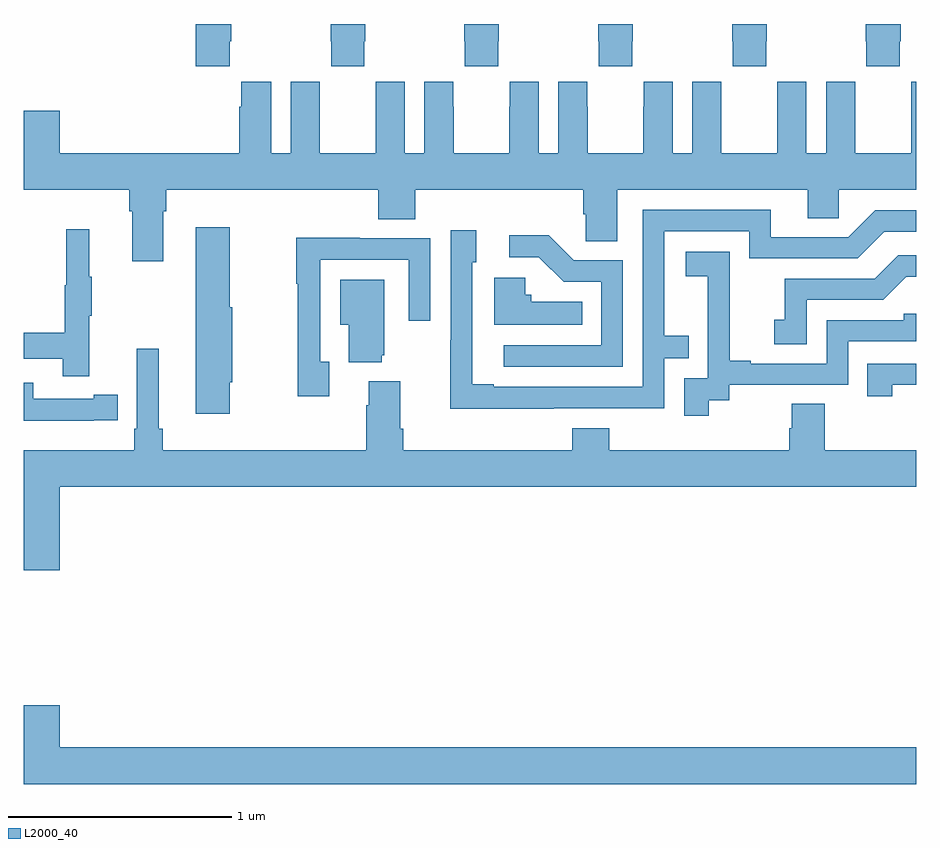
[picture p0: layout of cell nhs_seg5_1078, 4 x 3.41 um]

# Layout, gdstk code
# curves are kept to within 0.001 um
import gdstk
lib = gdstk.Library(unit=1e-6, precision=1e-09)
def P(c, l, *ps):  # polygons
    for p in ps: c.add(gdstk.Polygon(p, *l))
L2000_40 = (2000, 40)

nhs_seg5_1078 = lib.new_cell('nhs_seg5_1078')
P(nhs_seg5_1078, L2000_40, [(177.923,894.721),(177.93,894.721),(177.93,894.799),(177.77,894.799),(177.77,894.609),(177.923,894.609)],
  [(178.527,894.721),(178.53,894.721),(178.53,894.799),(178.375,894.799),(178.375,894.721),(178.377,894.721),(178.377,894.609),(178.527,894.609)],
  [(179.127,894.721),(179.13,894.721),(179.13,894.799),(178.975,894.799),(178.975,894.721),(178.977,894.721),(178.977,894.609),(179.127,894.609)],
  [(179.727,894.721),(179.73,894.721),(179.73,894.799),(179.575,894.799),(179.575,894.721),(179.577,894.721),(179.577,894.609),(179.727,894.609)],
  [(180.327,894.721),(180.33,894.721),(180.33,894.799),(180.175,894.799),(180.175,894.721),(180.177,894.721),(180.177,894.609),(180.327,894.609)],
  [(180.927,894.721),(180.93,894.721),(180.93,894.799),(180.775,894.799),(180.775,894.721),(180.777,894.721),(180.777,894.609),(180.927,894.609)],
  [(177.625,893.96),(177.638,893.96),(177.638,894.056),(178.589,894.056),(178.589,893.923),(178.754,893.923),(178.754,894.056),(179.507,894.056),(179.507,893.947),(179.52,893.947),(179.52,893.824),(179.659,893.824),(179.659,894.056),(180.515,894.056),(180.515,893.929),(180.654,893.929),(180.654,894.056),(181,894.056),(181,894.541),(180.978,894.541),(180.978,894.428),(180.977,894.428),(180.977,894.22),(180.727,894.22),(180.727,894.428),(180.726,894.428),(180.726,894.541),(180.596,894.541),(180.596,894.22),(180.508,894.22),(180.508,894.541),(180.378,894.541),(180.378,894.428),(180.377,894.428),(180.377,894.22),(180.127,894.22),(180.127,894.428),(180.126,894.428),(180.126,894.541),(179.996,894.541),(179.996,894.22),(179.908,894.22),(179.908,894.541),(179.778,894.541),(179.778,894.428),(179.777,894.428),(179.777,894.22),(179.527,894.22),(179.527,894.428),(179.526,894.428),(179.526,894.541),(179.396,894.541),(179.396,894.22),(179.308,894.22),(179.308,894.541),(179.178,894.541),(179.178,894.428),(179.177,894.428),(179.177,894.22),(178.927,894.22),(178.927,894.428),(178.926,894.428),(178.926,894.541),(178.796,894.541),(178.796,894.22),(178.708,894.22),(178.708,894.541),(178.578,894.541),(178.578,894.428),(178.577,894.428),(178.577,894.22),(178.327,894.22),(178.327,894.428),(178.326,894.428),(178.326,894.541),(178.196,894.541),(178.196,894.22),(178.108,894.22),(178.108,894.541),(177.974,894.541),(177.974,894.428),(177.965,894.428),(177.965,894.22),(177.16,894.22),(177.16,894.409),(177,894.409),(177,894.056),(177.473,894.056),(177.473,893.96),(177.485,893.96),(177.485,893.736),(177.625,893.736)],
  [(179.375,893.076),(179.871,893.076),(179.871,893.301),(179.981,893.301),(179.981,893.402),(179.871,893.402),(179.871,893.871),(180.252,893.871),(180.252,893.748),(180.738,893.748),(180.858,893.868),(181,893.868),(181,893.964),(180.816,893.964),(180.696,893.844),(180.349,893.844),(180.349,893.967),(179.775,893.967),(179.775,893.172),(179.107,893.172),(179.107,893.185),(179.01,893.185),(179.01,893.73),(179.029,893.73),(179.029,893.875),(178.914,893.875),(178.914,893.381),(178.912,893.381),(178.912,893.075)],
  [(177.924,893.193),(177.934,893.193),(177.934,893.529),(177.924,893.529),(177.924,893.887),(177.77,893.887),(177.77,893.052),(177.924,893.052)],
  [(177.293,893.491),(177.304,893.491),(177.304,893.665),(177.293,893.665),(177.293,893.878),(177.19,893.878),(177.19,893.628),(177.183,893.628),(177.183,893.414),(177,893.414),(177,893.298),(177.175,893.298),(177.175,893.22),(177.293,893.22)],
  [(179.685,893.739),(179.466,893.739),(179.353,893.852),(179.175,893.852),(179.175,893.754),(179.309,893.754),(179.42,893.643),(179.589,893.643),(179.589,893.358),(179.151,893.358),(179.151,893.262),(179.685,893.262)],
  [(178.369,893.286),(178.329,893.286),(178.329,893.742),(178.725,893.742),(178.725,893.469),(178.821,893.469),(178.821,893.838),(178.505,893.838),(178.505,893.84),(178.221,893.84),(178.221,893.635),(178.228,893.635),(178.228,893.13),(178.369,893.13)],
  [(180.07,893.113),(180.162,893.113),(180.162,893.181),(180.696,893.181),(180.696,893.376),(181,893.376),(181,893.499),(180.945,893.499),(180.945,893.472),(180.6,893.472),(180.6,893.277),(180.259,893.277),(180.259,893.29),(180.164,893.29),(180.164,893.573),(180.165,893.573),(180.165,893.779),(179.967,893.779),(179.967,893.669),(180.065,893.669),(180.065,893.441),(180.066,893.441),(180.066,893.211),(179.961,893.211),(179.961,893.043),(180.07,893.043)],
  [(180.51,893.562),(180.852,893.562),(180.956,893.666),(181,893.666),(181,893.763),(180.92,893.763),(180.815,893.658),(180.412,893.658),(180.412,893.473),(180.363,893.473),(180.363,893.364),(180.51,893.364)],
  [(179.504,893.554),(179.274,893.554),(179.274,893.586),(179.247,893.586),(179.247,893.662),(179.108,893.662),(179.108,893.45),(179.504,893.45)],
  [(178.604,893.313),(178.615,893.313),(178.615,893.653),(178.418,893.653),(178.418,893.45),(178.457,893.45),(178.457,893.282),(178.604,893.282)],
  [(177.16,892.724),(181,892.724),(181,892.888),(180.591,892.888),(180.591,893.096),(180.443,893.096),(180.443,892.986),(180.431,892.986),(180.431,892.888),(179.624,892.888),(179.624,892.987),(179.459,892.987),(179.459,892.888),(178.7,892.888),(178.7,892.984),(178.687,892.984),(178.687,893.197),(178.547,893.197),(178.547,893.09),(178.535,893.09),(178.535,892.888),(177.623,892.888),(177.623,892.984),(177.604,892.984),(177.604,893.344),(177.507,893.344),(177.507,892.984),(177.494,892.984),(177.494,892.888),(177,892.888),(177,892.35),(177.16,892.35)],
  [(180.892,893.181),(181,893.181),(181,893.277),(180.781,893.277),(180.781,893.13),(180.892,893.13)],
  [(177.314,893.022),(177.422,893.022),(177.422,893.138),(177.314,893.138),(177.314,893.118),(177.042,893.118),(177.042,893.19),(177,893.19),(177,893.021),(177.314,893.021)],
  [(181,891.556),(177.16,891.556),(177.16,891.745),(177,891.745),(177,891.392),(181,891.392)])

lib.write_gds('nhs_seg5_1078.gds')
